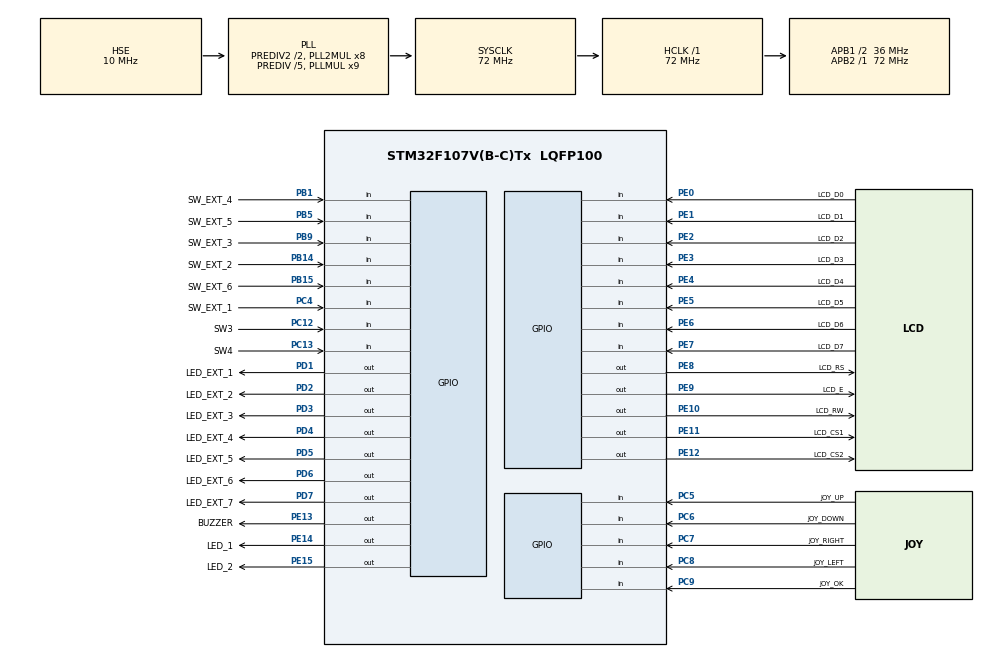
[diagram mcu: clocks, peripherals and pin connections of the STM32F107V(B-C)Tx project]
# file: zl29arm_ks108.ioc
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Mcu.Family=STM32F1
Mcu.Name=STM32F107V(B-C)Tx
Mcu.Package=LQFP100
NVIC.PriorityGroup=NVIC_PRIORITYGROUP_4
NVIC.TIM7_IRQn=true\:0\:0\:false\:false\:true\:true\:true
OSC_IN.Mode=HSE-External-Oscillator
OSC_IN.Signal=RCC_OSC_IN
OSC_OUT.Mode=HSE-External-Oscillator
OSC_OUT.Signal=RCC_OSC_OUT
PB1.GPIO_Label=SW_EXT_4
PB1.Signal=GPIO_Input
PB14.GPIO_Label=SW_EXT_2
PB14.Signal=GPIO_Input
PB15.GPIO_Label=SW_EXT_6
PB15.Signal=GPIO_Input
PB5.GPIO_Label=SW_EXT_5
PB5.Signal=GPIO_Input
PB9.GPIO_Label=SW_EXT_3
PB9.Signal=GPIO_Input
PC12.GPIO_Label=SW3
PC12.Signal=GPIO_Input
PC13-TAMPER-RTC.GPIO_Label=SW4
PC13-TAMPER-RTC.Signal=GPIO_Input
PC4.GPIO_Label=SW_EXT_1
PC4.Signal=GPIO_Input
PC5.GPIO_Label=JOY_UP
PC5.Signal=GPIO_Input
PC6.GPIO_Label=JOY_DOWN
PC6.Signal=GPIO_Input
PC7.GPIO_Label=JOY_RIGHT
PC7.Signal=GPIO_Input
PC8.GPIO_Label=JOY_LEFT
PC8.Signal=GPIO_Input
PC9.GPIO_Label=JOY_OK
PC9.Signal=GPIO_Input
PD1.GPIO_Label=LED_EXT_1
PD1.Signal=GPIO_Output
PD2.GPIO_Label=LED_EXT_2
PD2.Signal=GPIO_Output
PD3.GPIO_Label=LED_EXT_3
PD3.Signal=GPIO_Output
PD4.GPIO_Label=LED_EXT_4
PD4.Signal=GPIO_Output
PD5.GPIO_Label=LED_EXT_5
PD5.Signal=GPIO_Output
PD6.GPIO_Label=LED_EXT_6
PD6.Signal=GPIO_Output
PD7.GPIO_Label=LED_EXT_7
PD7.Signal=GPIO_Output
PE0.GPIO_Label=LCD_D0
PE0.Signal=GPIO_Input
PE1.GPIO_Label=LCD_D1
PE1.GPIO_Mode=GPIO_MODE_INPUT
PE1.GPIO_PuPd=GPIO_NOPULL
PE1.Signal=GPIO_Input
PE10.GPIO_Label=LCD_RW
PE10.Signal=GPIO_Output
PE11.GPIO_Label=LCD_CS1
PE11.Signal=GPIO_Output
PE12.GPIO_Label=LCD_CS2
PE12.Signal=GPIO_Output
PE13.GPIO_Label=BUZZER
PE13.GPIO_ModeDefaultOutputPP=GPIO_MODE_OUTPUT_PP
PE13.Signal=GPIO_Output
PE14.GPIO_Label=LED_1
PE14.GPIO_ModeDefaultOutputPP=GPIO_MODE_OUTPUT_OD
PE14.PinState=GPIO_PIN_SET
PE14.Signal=GPIO_Output
PE15.GPIO_Label=LED_2
PE15.GPIO_ModeDefaultOutputPP=GPIO_MODE_OUTPUT_OD
PE15.PinState=GPIO_PIN_SET
PE15.Signal=GPIO_Output
PE2.GPIO_Label=LCD_D2
PE2.GPIO_Mode=GPIO_MODE_INPUT
PE2.GPIO_PuPd=GPIO_NOPULL
PE2.Signal=GPIO_Input
PE3.GPIO_Label=LCD_D3
PE3.GPIO_Mode=GPIO_MODE_INPUT
PE3.GPIO_PuPd=GPIO_NOPULL
PE3.Signal=GPIO_Input
PE4.GPIO_Label=LCD_D4
PE4.GPIO_Mode=GPIO_MODE_INPUT
PE4.GPIO_PuPd=GPIO_NOPULL
PE4.Signal=GPIO_Input
PE5.GPIO_Label=LCD_D5
PE5.GPIO_Mode=GPIO_MODE_INPUT
PE5.GPIO_PuPd=GPIO_NOPULL
PE5.Signal=GPIO_Input
PE6.GPIO_Label=LCD_D6
PE6.GPIO_Mode=GPIO_MODE_INPUT
PE6.GPIO_PuPd=GPIO_NOPULL
PE6.Signal=GPIO_Input
PE7.GPIO_Label=LCD_D7
PE7.GPIO_Mode=GPIO_MODE_INPUT
PE7.GPIO_PuPd=GPIO_NOPULL
PE7.Signal=GPIO_Input
PE8.GPIO_Label=LCD_RS
PE8.Signal=GPIO_Output
PE9.GPIO_Label=LCD_E
PE9.Signal=GPIO_Output
ProjectManager.HeapSize=0x200
ProjectManager.StackSize=0x400
ProjectManager.TargetToolchain=MDK-ARM V5.32
RCC.AHBFreq_Value=72000000
RCC.APB1CLKDivider=RCC_HCLK_DIV2
RCC.APB1Freq_Value=36000000
RCC.APB1TimFreq_Value=72000000
RCC.APB2Freq_Value=72000000
RCC.APB2TimFreq_Value=72000000
RCC.HCLKFreq_Value=72000000
RCC.HSEDivPLL=RCC_HSE_PREDIV_DIV5
RCC.HSE_VALUE=10000000
RCC.PLLMUL=RCC_PLL_MUL9
RCC.PLLSourceVirtual=RCC_PLLSOURCE_HSE
RCC.Prediv1Source=RCC_PREDIV1_SOURCE_PLL2
RCC.Prediv2=RCC_HSE_PREDIV2_DIV2
RCC.SYSCLKFreq_VALUE=72000000
RCC.SYSCLKSource=RCC_SYSCLKSOURCE_PLLCLK
RCC.USBFreq_Value=48000000
TIM7.Period=1000
TIM7.Prescaler=7200
VP_SYS_VS_ND.Mode=No_Debug
VP_TIM7_VS_ClockSourceINT.Mode=Enable_Timer
board=zl29arm

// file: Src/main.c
/* USER CODE BEGIN Header */
/**
  ******************************************************************************
  * @file           : main.c
  * @brief          : Main program body
  ******************************************************************************
  * @attention
  *
  * <h2><center>&copy; Copyright (c) 2021 STMicroelectronics.
  * All rights reserved.</center></h2>
  *
  * This software component is licensed by ST under BSD 3-Clause license,
  * the "License"; You may not use this file except in compliance with the
  * License. You may obtain a copy of the License at:
  *                        opensource.org/licenses/BSD-3-Clause
  *
  ******************************************************************************
  */
/* USER CODE END Header */
#include "main.h"
#include "tim.h"
#include "gpio.h"
#include "glcd.h"

void SystemClock_Config(void);

int main(void)
{

  /* MCU Configuration--------------------------------------------------------*/

  /* Reset of all peripherals, Initializes the Flash interface and the Systick. */
  HAL_Init();

  /* Configure the system clock */
  SystemClock_Config();

  /* Initialize all configured peripherals */
  MX_GPIO_Init();
  MX_TIM7_Init();
  /* USER CODE BEGIN 2 */
  glcd_Initialize();
  glcd_ClearScreen();

  /*
  for (uint8_t y = 0; y < GLCD_HEIGHT; y++)
    for (uint8_t x = 0; x < GLCD_WIDTH; x++)
    {
        glcd_PutPixel(x, y, 1);
        //HAL_Delay(1);
    }

  for (uint8_t y = 0; y < GLCD_HEIGHT; y++)
    for (uint8_t x = 0; x < GLCD_WIDTH; x++)
    {
        glcd_PutPixel(x, y, 0);
        //HAL_Delay(1);
    }

  for (uint8_t z =0; z < 64; z++)
  {
    glcd_WriteCommand(0, GLCD_CMD_SET_LINE | z);
    glcd_WriteCommand(1, GLCD_CMD_SET_LINE | z);
    HAL_Delay(100);
  }
  */

  //glcd_PutPixel(0, 0, 1);
  //glcd_PutPixel(127, 63, 1);
  //glcd_PutPixel(20, 20, 1);

  glcd_GoTo(0, 0);
	//glcd_WriteString("Hello World!");
	glcd_WriteString(0, 0,
		"Lorem Ipsum is simply dummy text of the printing and typesetting industry. "
		"Lorem Ipsum has been the industry's standard dummy text ever since the 1500s, "
		"when an unknown printer took a galley of type and scrambled it to make a type "
		"specimen book. It has survived not only five centuries, but also the leap into "
		"electronic typesetting, remaining essentially unchanged. It was popularised "
		"in the 1960s with the release of Letraset sheets containing Lorem Ipsum passages, "
		"and more recently with desktop publishing software like Aldus PageMaker including "
		"versions of Lorem Ipsum."
	);

/*
  glcd_GoTo(0, 0);
  glcd_PutChar('A');
  glcd_GoTo(10, 1);
  glcd_PutChar('B');
  glcd_GoTo(20, 2);
  glcd_PutChar('C');
  glcd_GoTo(30, 3);
  glcd_PutChar('D');
  glcd_GoTo(40, 4);
  glcd_PutChar('E');
  glcd_GoTo(50, 5);
  glcd_PutChar('F');
  glcd_GoTo(60, 6);
  glcd_PutChar('G');
  glcd_GoTo(70, 7);
  glcd_PutChar('H');

  glcd_GoTo(80, 0);
  glcd_PutChar('I');
  glcd_GoTo(90, 1);
  glcd_PutChar('J');
  glcd_GoTo(100, 2);
  glcd_PutChar('K');
  glcd_GoTo(110, 3);
  glcd_PutChar('L');
  glcd_GoTo(120, 4);
  glcd_PutChar('M');
*/
  uint8_t z = 0;
  for (;;)
  {
    glcd_WriteCommand(0, GLCD_CMD_SET_LINE | (z & 0x3F));
    glcd_WriteCommand(1, GLCD_CMD_SET_LINE | (z & 0x3F));
    HAL_Delay(400);
    z++;
  }

/* USER CODE END 2 */

  /* Infinite loop */
  /* USER CODE BEGIN WHILE */

  //glcd_SetDataPortAsInput();
  //GPIOE->ODR &= 0xFF00;
  //GPIOE->ODR |= 0x0055;

  while (1)
  {
    /* USER CODE END WHILE */

    /* USER CODE BEGIN 3 */

    HAL_GPIO_TogglePin(LED_1_GPIO_Port, LED_1_Pin);

    for (uint16_t i = 0; i < 100; i++)
      HAL_TIM7_Delay_us(1000);

    if ((glcd_ReadStatus(0) & GLCD_STATUS_BUSY) == 0)
        HAL_GPIO_WritePin(LED_2_GPIO_Port, LED_2_Pin, GPIO_PIN_RESET);
    else
        HAL_GPIO_WritePin(LED_2_GPIO_Port, LED_2_Pin, GPIO_PIN_SET);

  }
  /* USER CODE END 3 */
}

void SystemClock_Config(void)
{
  RCC_OscInitTypeDef RCC_OscInitStruct = {0};
  RCC_ClkInitTypeDef RCC_ClkInitStruct = {0};

  /** Initializes the RCC Oscillators according to the specified parameters
  * in the RCC_OscInitTypeDef structure.
  */
  RCC_OscInitStruct.OscillatorType = RCC_OSCILLATORTYPE_HSE;
  RCC_OscInitStruct.HSEState = RCC_HSE_ON;
  RCC_OscInitStruct.HSEPredivValue = RCC_HSE_PREDIV_DIV5;
  RCC_OscInitStruct.HSIState = RCC_HSI_ON;
  RCC_OscInitStruct.Prediv1Source = RCC_PREDIV1_SOURCE_PLL2;
  RCC_OscInitStruct.PLL.PLLState = RCC_PLL_ON;
  RCC_OscInitStruct.PLL.PLLSource = RCC_PLLSOURCE_HSE;
  RCC_OscInitStruct.PLL.PLLMUL = RCC_PLL_MUL9;
  RCC_OscInitStruct.PLL2.PLL2State = RCC_PLL2_ON;
  RCC_OscInitStruct.PLL2.PLL2MUL = RCC_PLL2_MUL8;
  RCC_OscInitStruct.PLL2.HSEPrediv2Value = RCC_HSE_PREDIV2_DIV2;
  if (HAL_RCC_OscConfig(&RCC_OscInitStruct) != HAL_OK)
  {
    Error_Handler();
  }
  /** Initializes the CPU, AHB and APB buses clocks
  */
  RCC_ClkInitStruct.ClockType = RCC_CLOCKTYPE_HCLK|RCC_CLOCKTYPE_SYSCLK
                              |RCC_CLOCKTYPE_PCLK1|RCC_CLOCKTYPE_PCLK2;
  RCC_ClkInitStruct.SYSCLKSource = RCC_SYSCLKSOURCE_PLLCLK;
  RCC_ClkInitStruct.AHBCLKDivider = RCC_SYSCLK_DIV1;
  RCC_ClkInitStruct.APB1CLKDivider = RCC_HCLK_DIV2;
  RCC_ClkInitStruct.APB2CLKDivider = RCC_HCLK_DIV1;

  if (HAL_RCC_ClockConfig(&RCC_ClkInitStruct, FLASH_LATENCY_2) != HAL_OK)
  {
    Error_Handler();
  }
  /** Configure the Systick interrupt time
  */
  __HAL_RCC_PLLI2S_ENABLE();
}

void Error_Handler(void)
{
  __disable_irq();
  while (1)
  {
  }
}

/************************ (C) COPYRIGHT STMicroelectronics *****END OF FILE****/
